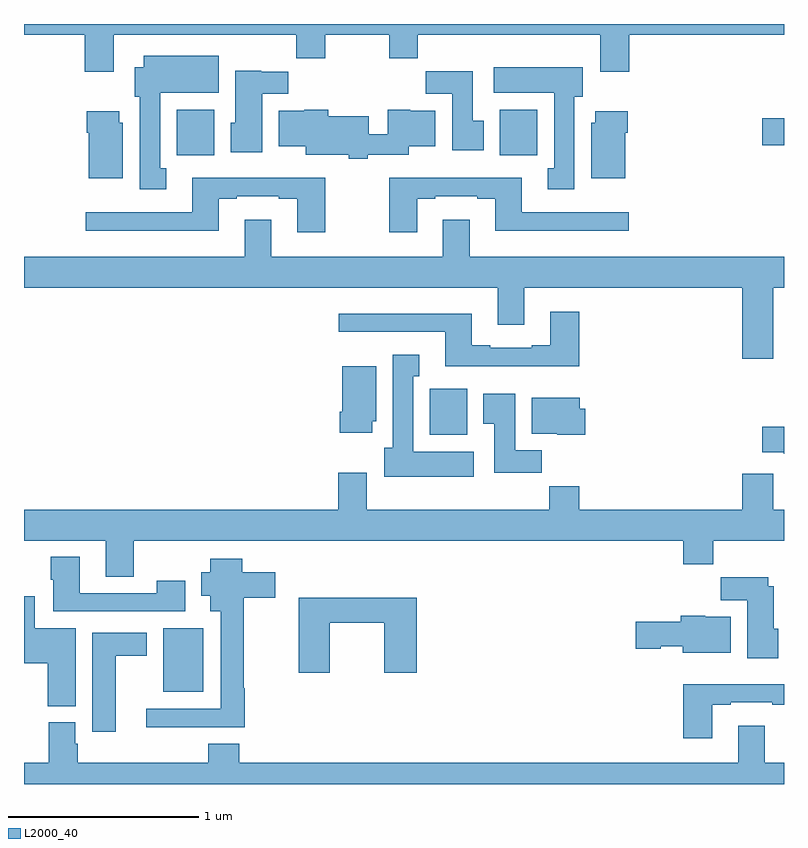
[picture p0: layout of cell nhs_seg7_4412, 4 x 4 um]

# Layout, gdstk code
import gdstk
lib = gdstk.Library(unit=1e-6, precision=1e-09)
def R(c, l, rs):  # rectangles x0, y0, x1, y1
    for r in rs: c.add(gdstk.rectangle(r[:2], r[2:], *l))
def P(c, l, *ps):  # polygons
    for p in ps: c.add(gdstk.Polygon(p, *l))
L2000_40 = (2000, 40)

nhs_seg7_4412 = lib.new_cell('nhs_seg7_4412')
R(nhs_seg7_4412, L2000_40, [(389.732,1002.485,389.944,1002.82), (391.136,1003.838,391.333,1004.08), (389.804,1005.308,390.001,1005.55), (391.505,1005.308,391.702,1005.55), (392.886,1005.362,393,1005.504)])
P(nhs_seg7_4412, L2000_40, [(393,1006),(389,1006),(389,1005.944),(389.321,1005.944),(389.321,1005.75),(389.473,1005.75),(389.473,1005.944),(390.433,1005.944),(390.433,1005.82),(390.585,1005.82),(390.585,1005.944),(390.922,1005.944),(390.922,1005.82),(391.073,1005.82),(391.073,1005.944),(392.033,1005.944),(392.033,1005.75),(392.186,1005.75),(392.186,1005.944),(393,1005.944)],
  [(389.749,1005.242),(389.716,1005.242),(389.716,1005.638),(390.025,1005.638),(390.025,1005.832),(389.63,1005.832),(389.63,1005.772),(389.582,1005.772),(389.582,1005.618),(389.609,1005.618),(389.609,1005.129),(389.749,1005.129)],
  [(391.897,1005.618),(391.942,1005.618),(391.942,1005.772),(391.473,1005.772),(391.473,1005.638),(391.79,1005.638),(391.79,1005.242),(391.757,1005.242),(391.757,1005.129),(391.897,1005.129)],
  [(390.253,1005.632),(390.392,1005.632),(390.392,1005.75),(390.249,1005.75),(390.249,1005.754),(390.113,1005.754),(390.113,1005.48),(390.089,1005.48),(390.089,1005.326),(390.253,1005.326)],
  [(391.42,1005.492),(391.363,1005.492),(391.363,1005.751),(391.114,1005.751),(391.114,1005.632),(391.253,1005.632),(391.253,1005.336),(391.42,1005.336)],
  [(390.81,1005.312),(391.024,1005.312),(391.024,1005.356),(391.165,1005.356),(391.165,1005.544),(391.032,1005.544),(391.032,1005.55),(390.914,1005.55),(390.914,1005.421),(390.814,1005.421),(390.814,1005.514),(390.6,1005.514),(390.6,1005.55),(390.474,1005.55),(390.474,1005.544),(390.341,1005.544),(390.341,1005.356),(390.482,1005.356),(390.482,1005.311),(390.71,1005.311),(390.71,1005.292),(390.81,1005.292)],
  [(389.521,1005.48),(389.5,1005.48),(389.5,1005.541),(389.33,1005.541),(389.33,1005.428),(389.342,1005.428),(389.342,1005.188),(389.521,1005.188)],
  [(392.164,1005.428),(392.177,1005.428),(392.177,1005.541),(392.006,1005.541),(392.006,1005.48),(391.985,1005.48),(391.985,1005.188),(392.164,1005.188)],
  [(391.069,1005.081),(391.165,1005.081),(391.165,1005.093),(391.385,1005.093),(391.385,1005.081),(391.481,1005.081),(391.481,1004.912),(392.182,1004.912),(392.182,1005.009),(391.621,1005.009),(391.621,1005.19),(390.922,1005.19),(390.922,1004.904),(391.069,1004.904)],
  [(390.585,1005.19),(389.885,1005.19),(389.885,1005.009),(389.325,1005.009),(389.325,1004.912),(390.025,1004.912),(390.025,1005.081),(390.121,1005.081),(390.121,1005.093),(390.341,1005.093),(390.341,1005.081),(390.437,1005.081),(390.437,1004.904),(390.585,1004.904)],
  [(392.944,1004.612),(393,1004.612),(393,1004.776),(391.345,1004.776),(391.345,1004.971),(391.205,1004.971),(391.205,1004.776),(390.301,1004.776),(390.301,1004.971),(390.161,1004.971),(390.161,1004.776),(389,1004.776),(389,1004.612),(391.493,1004.612),(391.493,1004.418),(391.633,1004.418),(391.633,1004.612),(392.78,1004.612),(392.78,1004.238),(392.944,1004.238)],
  [(391.922,1004.485),(391.769,1004.485),(391.769,1004.308),(391.673,1004.308),(391.673,1004.295),(391.453,1004.295),(391.453,1004.308),(391.357,1004.308),(391.357,1004.476),(390.657,1004.476),(390.657,1004.379),(391.217,1004.379),(391.217,1004.198),(391.922,1004.198)],
  [(391.366,1003.75),(391.048,1003.75),(391.048,1004.147),(391.081,1004.147),(391.081,1004.26),(390.941,1004.26),(390.941,1003.77),(390.896,1003.77),(390.896,1003.616),(391.366,1003.616)],
  [(390.832,1003.908),(390.853,1003.908),(390.853,1004.2),(390.674,1004.2),(390.674,1003.96),(390.662,1003.96),(390.662,1003.848),(390.832,1003.848)],
  [(391.724,1003.756),(391.585,1003.756),(391.585,1004.053),(391.418,1004.053),(391.418,1003.897),(391.475,1003.897),(391.475,1003.638),(391.724,1003.638)],
  [(391.955,1003.974),(391.924,1003.974),(391.924,1004.032),(391.673,1004.032),(391.673,1003.844),(391.806,1003.844),(391.806,1003.838),(391.955,1003.838)],
  [(393,1003.88),(392.886,1003.88),(392.886,1003.745),(392.998,1003.745),(392.998,1003.738),(393,1003.738)],
  [(389.577,1003.28),(392.471,1003.28),(392.471,1003.156),(392.627,1003.156),(392.627,1003.28),(393,1003.28),(393,1003.444),(392.944,1003.444),(392.944,1003.633),(392.78,1003.633),(392.78,1003.444),(391.922,1003.444),(391.922,1003.568),(391.765,1003.568),(391.765,1003.444),(390.805,1003.444),(390.805,1003.639),(390.653,1003.639),(390.653,1003.444),(389,1003.444),(389,1003.28),(389.429,1003.28),(389.429,1003.09),(389.577,1003.09)],
  [(389.848,1003.069),(389.698,1003.069),(389.698,1003.005),(389.293,1003.005),(389.293,1003.195),(389.141,1003.195),(389.141,1003.075),(389.153,1003.075),(389.153,1002.909),(389.848,1002.909)],
  [(390.161,1002.503),(390.156,1002.503),(390.156,1002.98),(390.322,1002.98),(390.322,1003.114),(390.148,1003.114),(390.148,1003.186),(389.981,1003.186),(389.981,1003.114),(389.933,1003.114),(389.933,1002.992),(389.981,1002.992),(389.981,1002.908),(390.035,1002.908),(390.035,1002.396),(389.643,1002.396),(389.643,1002.299),(390.161,1002.299)],
  [(392.971,1002.816),(392.947,1002.816),(392.947,1003.042),(392.917,1003.042),(392.917,1003.087),(392.668,1003.087),(392.668,1002.968),(392.807,1002.968),(392.807,1002.662),(392.971,1002.662)],
  [(389.272,1002.82),(389.056,1002.82),(389.056,1002.988),(389,1002.988),(389,1002.635),(389.126,1002.635),(389.126,1002.409),(389.272,1002.409)],
  [(390.61,1002.85),(390.896,1002.85),(390.896,1002.585),(391.067,1002.585),(391.067,1002.979),(390.445,1002.979),(390.445,1002.585),(390.61,1002.585)],
  [(392.719,1002.88),(392.586,1002.88),(392.586,1002.886),(392.456,1002.886),(392.456,1002.855),(392.22,1002.855),(392.22,1002.713),(392.352,1002.713),(392.352,1002.725),(392.468,1002.725),(392.468,1002.692),(392.719,1002.692)],
  [(389.482,1002.674),(389.647,1002.674),(389.647,1002.796),(389.36,1002.796),(389.36,1002.276),(389.482,1002.276)],
  [(392.623,1002.417),(392.719,1002.417),(392.719,1002.429),(392.939,1002.429),(392.939,1002.417),(393,1002.417),(393,1002.526),(392.471,1002.526),(392.471,1002.24),(392.623,1002.24)],
  [(392.759,1002.112),(390.134,1002.112),(390.134,1002.211),(389.969,1002.211),(389.969,1002.112),(389.282,1002.112),(389.282,1002.213),(389.269,1002.213),(389.269,1002.324),(389.129,1002.324),(389.129,1002.112),(389,1002.112),(389,1002),(393,1002),(393,1002.112),(392.899,1002.112),(392.899,1002.307),(392.759,1002.307)])

lib.write_gds('nhs_seg7_4412.gds')
